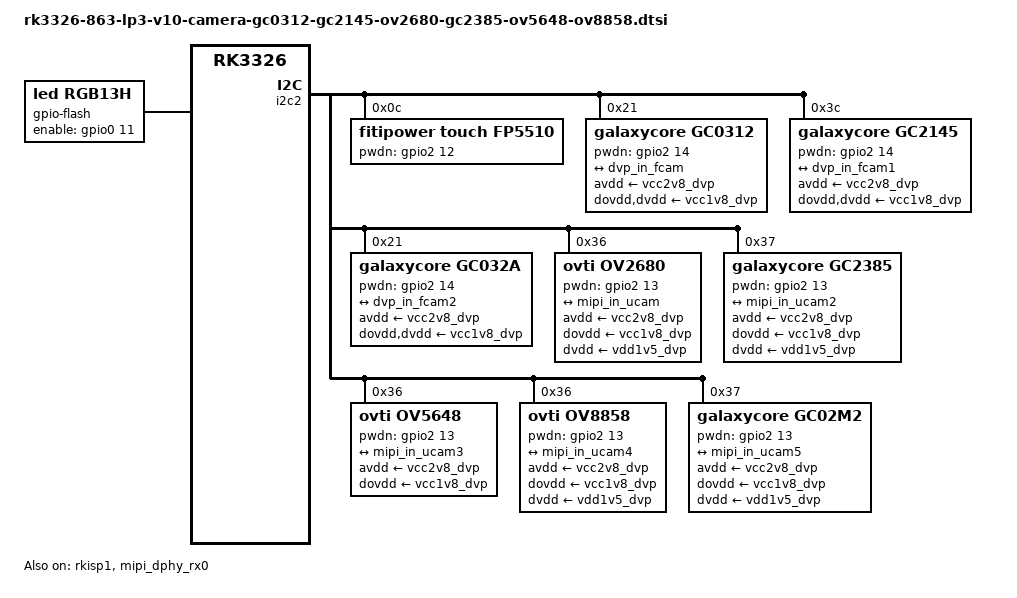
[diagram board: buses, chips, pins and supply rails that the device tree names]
/*
* incar camera
*/

/ {
       flash_rgb13h: flash-rgb13h {
		   compatible = "led,rgb13h";
		   label = "gpio-flash";
		   led-max-microamp = <20000>;
		   flash-max-microamp = <20000>;
		   flash-max-timeout-us = <1000000>;
		   enable-gpio = <&gpio0 11 GPIO_ACTIVE_HIGH>;
		   rockchip,camera-module-index = <0>;
		   rockchip,camera-module-facing = "back";
       };      
};

&i2c2 {
	status = "okay";
	fp5510: fp5510@0c {
		compatible = "fitipower touch,fp5510";
		status = "okay";
		reg = <0x0c>;
		pwdn-gpios = <&gpio2 12 GPIO_ACTIVE_HIGH>;
		rockchip,vcm-start-current = <18>;
		rockchip,vcm-rated-current = <30>;
		rockchip,vcm-setp-mode = <13>;
		rockchip,camera-module-index = <0>;
		rockchip,camera-module-facing = "back";
	};

	gc0312@21 {
		status = "okay";
		compatible = "galaxycore,gc0312";
		reg = <0x21>;
		clocks = <&cru SCLK_CIF_OUT>;
		clock-names = "xvclk";

		avdd-supply = <&vcc2v8_dvp>;
		dovdd-supply = <&vcc1v8_dvp>;
		dvdd-supply = <&vcc1v8_dvp>;

		pwdn-gpios = <&gpio2 14 GPIO_ACTIVE_HIGH>;
                rockchip,camera-module-index = <1>;
                rockchip,camera-module-facing = "front";
                rockchip,camera-module-name = "KYT-3359-V5.0";
                rockchip,camera-module-lens-name = "M216A-233";

		port {
			gc0312_out: endpoint {
				remote-endpoint = <&dvp_in_fcam>;
			};
		};
	};

	gc2145@3c {
		status = "okay";
		compatible = "galaxycore,gc2145";
		reg = <0x3c>;
		//pinctrl-names = "default";
		//pinctrl-0 = <&cif_clkout_m0 &dvp_d0d1_m0 &dvp_d2d9_m0 &dvp_d10d11_m0>;

		clocks = <&cru SCLK_CIF_OUT>;
		clock-names = "xvclk";

		avdd-supply = <&vcc2v8_dvp>;
		dovdd-supply = <&vcc1v8_dvp>;
		dvdd-supply = <&vcc1v8_dvp>;

		pwdn-gpios = <&gpio2 14 GPIO_ACTIVE_HIGH>;
        rockchip,camera-module-index = <1>;
        rockchip,camera-module-facing = "front";
        rockchip,camera-module-name = "default";
        rockchip,camera-module-lens-name = "default";

		port {
			gc2145_out: endpoint {
				remote-endpoint = <&dvp_in_fcam1>;
			};
		};
	};

	gc032a@21 {
		status = "okay";
		compatible = "galaxycore,gc032a";
		reg = <0x21>;
		clocks = <&cru SCLK_CIF_OUT>;
		clock-names = "xvclk";

		avdd-supply = <&vcc2v8_dvp>;
		dovdd-supply = <&vcc1v8_dvp>;
		dvdd-supply = <&vcc1v8_dvp>;

		pwdn-gpios = <&gpio2 14 GPIO_ACTIVE_HIGH>;
        rockchip,camera-module-index = <1>;
        rockchip,camera-module-facing = "front";
        rockchip,camera-module-name = "KYT-3359-V5.0";
        rockchip,camera-module-lens-name = "M216A-233";

		port {
			gc032a_out: endpoint {
				remote-endpoint = <&dvp_in_fcam2>;
			};
		};
	};
	
	ov2680@10 {
		status = "okay";
		compatible = "ovti,ov2680";
		reg = <0x36>;//reg = <0x10>;  i2c地址向右移动1位 0x10--0x20     0x36--0x6c 
		clocks = <&cru SCLK_CIF_OUT>;
		clock-names = "xvclk";
		
		avdd-supply = <&vcc2v8_dvp>;
		dovdd-supply = <&vcc1v8_dvp>;
		dvdd-supply = <&vdd1v5_dvp>;

		pwdn-gpios = <&gpio2 13 GPIO_ACTIVE_HIGH>;

                rockchip,camera-module-index = <0>;
                rockchip,camera-module-facing = "back";
                rockchip,camera-module-name = "KYT-3359-V5.0";
                rockchip,camera-module-lens-name = "M216A-233";
		flash-leds = <&flash_rgb13h>;
		port {
			ucam_out: endpoint {
				remote-endpoint = <&mipi_in_ucam>;
				data-lanes = <1>;
			};
		};
	};
	
	
	gc2385@37 {
		status = "okay";
		compatible = "galaxycore,gc2385";
		reg = <0x37>;
		clocks = <&cru SCLK_CIF_OUT>;
		clock-names = "xvclk";
		
		avdd-supply = <&vcc2v8_dvp>;
		dovdd-supply = <&vcc1v8_dvp>;
		dvdd-supply = <&vdd1v5_dvp>;

		pwdn-gpios = <&gpio2 13 GPIO_ACTIVE_HIGH>;

        rockchip,camera-module-index = <0>;
		rockchip,camera-module-facing = "back";
		rockchip,camera-module-name = "KYT-4497";
		rockchip,camera-module-lens-name = "M2116A-233";
	//	flash-leds = <&flash_rgb13h>;
		port {
			ucam_out2: endpoint {
				remote-endpoint = <&mipi_in_ucam2>;
				data-lanes = <1>;
			};
		};
	};	
	
	ov5648@36 {
		status = "okay";
		compatible = "ovti,ov5648";
		reg = <0x36>;
		clocks = <&cru SCLK_CIF_OUT>;
		clock-names = "xvclk";
		
		avdd-supply = <&vcc2v8_dvp>;
		dovdd-supply = <&vcc1v8_dvp>;
	//	dvdd-supply = <&vcc1v8_dvp>;

		pwdn-gpios = <&gpio2 13 GPIO_ACTIVE_HIGH>;
	//	pinctrl-names = "default";
	//	pinctrl-0 = <&cif_clkout_m0>;
		rockchip,camera-module-index = <0>;
        rockchip,camera-module-facing = "back";
        rockchip,camera-module-name = "default";
        rockchip,camera-module-lens-name = "default";
		//lens-focus = <&fp5510>;
		port {
			ucam_out3: endpoint {
				remote-endpoint = <&mipi_in_ucam3>;
				data-lanes = <1 2>;
			};
		};
	};

	ov8858@36 {
		status = "okay";
		compatible = "ovti,ov8858";
		reg = <0x36>;
		clocks = <&cru SCLK_CIF_OUT>;
		clock-names = "xvclk";
		
		avdd-supply = <&vcc2v8_dvp>;
		dovdd-supply = <&vcc1v8_dvp>;
		dvdd-supply = <&vdd1v5_dvp>;

		pwdn-gpios = <&gpio2 13 GPIO_ACTIVE_HIGH>;
	//	pinctrl-names = "default";
	//	pinctrl-0 = <&cif_clkout_m0>;
		rockchip,camera-module-index = <0>;
        rockchip,camera-module-facing = "back";
        rockchip,camera-module-name = "CameraKing";
        rockchip,camera-module-lens-name = "Largan-9569A2";
		//lens-focus = <&fp5510>;
		port {
			ucam_out4: endpoint {
				remote-endpoint = <&mipi_in_ucam4>;
				data-lanes = <1 2 3 4>;
			};
		};
	};	
	
	gc02m2@37 {
		status = "okay";
		compatible = "galaxycore,gc02m2";
		reg = <0x37>;
		clocks = <&cru SCLK_CIF_OUT>;
		clock-names = "xvclk";
 		
		avdd-supply = <&vcc2v8_dvp>;
		dovdd-supply = <&vcc1v8_dvp>;
		dvdd-supply = <&vdd1v5_dvp>;

		pwdn-gpios = <&gpio2 13 GPIO_ACTIVE_HIGH>;

        rockchip,camera-module-index = <0>;
		rockchip,camera-module-facing = "back";
		rockchip,camera-module-name = "KYT-8070";
        rockchip,camera-module-lens-name = "M2116A-233";
	//	flash-leds = <&flash_rgb13h>;
		port {
			ucam_out5: endpoint {
				remote-endpoint = <&mipi_in_ucam5>;
				data-lanes = <1>;
			};
		};
	};
			
};

&isp_mmu {
	status = "okay";
};

&rkisp1 {
	status = "okay";
	pinctrl-names = "default";
	pinctrl-0 = <&cif_clkout_m0  &dvp_d2d9_m0 >;

	ports {
		#address-cells = <1>;
		#size-cells = <0>;
		port@0 {
			reg = <0>;
			#address-cells = <1>;
			#size-cells = <0>;
			isp0_mipi_in: endpoint@0 {
			reg = <0>;
			remote-endpoint = <&dphy_rx0_out>; 
			};
	    };
	     
	     
		port@1 {
			reg = <0>;
			#address-cells = <1>;
			#size-cells = <0>;

			dvp_in_fcam: endpoint@0 {
				reg = <0>;
				remote-endpoint = <&gc0312_out>;
			};
	    };	

		port@2 {
			reg = <0>;
			#address-cells = <1>;
			#size-cells = <0>;

			dvp_in_fcam1: endpoint@0 {
				reg = <0>;
				remote-endpoint = <&gc2145_out>;
			};
	    };

			
		port@3 {
			reg = <0>;
			#address-cells = <1>;
			#size-cells = <0>;

			dvp_in_fcam2: endpoint@0 {
				reg = <0>;
				remote-endpoint = <&gc032a_out>;
			};
	    };	
		
	};
};


&mipi_dphy_rx0 {
	status = "okay";

	ports {
		#address-cells = <1>;
		#size-cells = <0>;

		port@0 {
			reg = <0>;
			#address-cells = <1>;
			#size-cells = <0>;

			mipi_in_ucam: endpoint@1 {
				reg = <0>;
				remote-endpoint = <&ucam_out>;
				data-lanes = <1>;
			};
		};
			
		port@1 {
			reg = <1>;
			#address-cells = <1>;
			#size-cells = <0>;

			dphy_rx0_out: endpoint@0 {
				reg = <0>;
				remote-endpoint = <&isp0_mipi_in>;
			};
		};
		
		
		port@2 {
			reg = <0>;
			#address-cells = <1>;
			#size-cells = <0>;

			mipi_in_ucam2: endpoint@2 {
				reg = <0>;
				remote-endpoint = <&ucam_out2>;
				data-lanes = <1>;
			};
		};		

		port@3 {
			reg = <0>;
			#address-cells = <1>;
			#size-cells = <0>;

			mipi_in_ucam3: endpoint@3 {
				reg = <0>;
				remote-endpoint = <&ucam_out3>;
				data-lanes = <1  2>;
			};
		};			

		port@4 {
			reg = <0>;
			#address-cells = <1>;
			#size-cells = <0>;

			mipi_in_ucam4: endpoint@4 {
				reg = <0>;
				remote-endpoint = <&ucam_out4>;
				data-lanes = <1 2 3 4>;
			};
		};

		port@5 {
			reg = <0>;
			#address-cells = <1>;
			#size-cells = <0>;

			mipi_in_ucam5: endpoint@5 {
				reg = <0>;
				remote-endpoint = <&ucam_out5>;
				data-lanes = <1>;
			};
		};	
		
	};	
};
